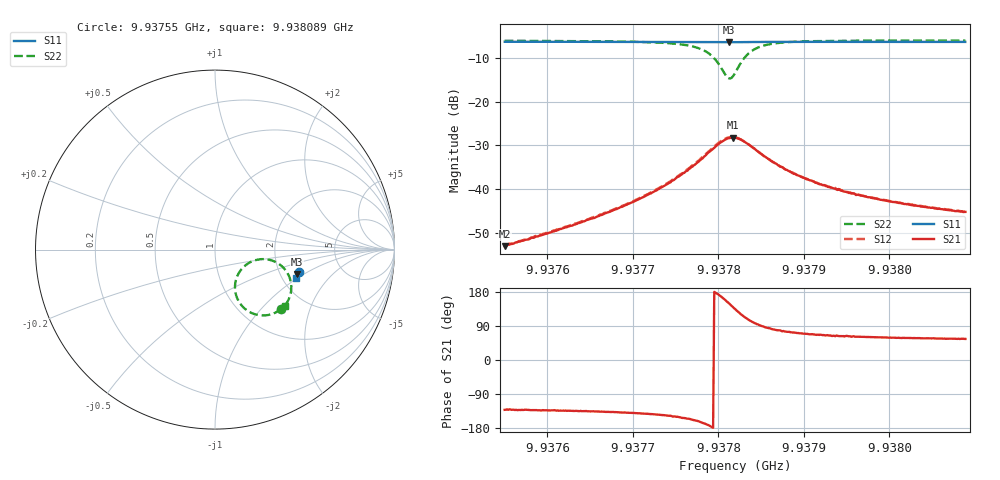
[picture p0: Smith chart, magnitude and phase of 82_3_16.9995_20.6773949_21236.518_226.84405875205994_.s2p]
#  HZ  S  RI  R  50.00
! Rohde & Schwarz Vector Network Analyzer
! Rohde-Schwarz,ZNB20-2Port,1311601062101988,3.16
! Created: UTC 3/20/2024, 10:55:47 PM
! freq[Hz]  re:S11  im:S11  re:S21  im:S21  re:S12  im:S12  re:S22  im:S22
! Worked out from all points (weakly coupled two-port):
!   401 points, 9.93755 GHz to 9.938089 GHz, reference 50 ohm
!   highest |S21| = -28.19 dB at 9.9378168 GHz (marker M1); lowest = -53.0 dB at 9.93755 GHz (marker M2)
!   lowest |S11| = -6.4 dB at 9.9378127 GHz (marker M3), VSWR 2.82, Z = 123 - j43.9 ohm
!   |S11| at or under -10 dB: nowhere
!   |S22| runs from -14.7 to -6.0 dB; largest |S21 - S12| = 0.0022
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9.93754997e9  0.4665 -0.1225  -0.00149 -0.00168  -0.00154 -0.00172  0.3693 -0.3303
9.93758096e9  0.4658 -0.1247  -0.00187 -0.00205  -0.00192 -0.00207  0.3645 -0.3342
9.93764025e9  0.4643 -0.1287  -0.00298 -0.00298  -0.0031 -0.00303  0.3512 -0.3431
9.9376928e9  0.4628 -0.1324  -0.00504 -0.00436  -0.00521 -0.00441  0.3303 -0.3542
9.93773053e9  0.4616 -0.135  -0.0082 -0.00589  -0.00855 -0.00587  0.3004 -0.3636
9.93776287e9  0.4603 -0.1375  -0.0146 -0.00702  -0.0151 -0.00705  0.2458 -0.3651
9.93778308e9  0.4588 -0.1388  -0.0229 -0.00528  -0.0236 -0.00478  0.1795 -0.3394
9.93779386e9  0.4576 -0.1392  -0.029 -0.000566  -0.0301 0.000107  0.1348 -0.2927
9.93780195e9  0.4568 -0.1388  -0.0332 0.00608  -0.0341 0.0077  0.1123 -0.2288
9.93780869e9  0.4563 -0.1385  -0.0342 0.0145  -0.0344 0.0164  0.1194 -0.1595
9.93781273e9  0.4562 -0.138  -0.0327 0.0198  -0.0327 0.0219  0.1405 -0.1184
9.93781677e9  0.4565 -0.1375  -0.03 0.0249  -0.0292 0.0268  0.1738 -0.0846
9.93781946e9  0.4566 -0.1373  -0.0273 0.0274  -0.0262 0.0293  0.2002 -0.0682
9.9378262e9  0.4573 -0.1371  -0.019 0.0317  -0.0177 0.0328  0.2705 -0.053
9.93783294e9  0.458 -0.1373  -0.0114 0.0317  -0.01 0.0322  0.3299 -0.0656
9.93784641e9  0.459 -0.1387  -0.0018 0.0269  -0.000745 0.027  0.3967 -0.1193
9.93785989e9  0.4594 -0.14  0.00238 0.0217  0.00307 0.0215  0.4195 -0.1678
9.9378801e9  0.4592 -0.142  0.00448 0.0161  0.00475 0.0159  0.4253 -0.2149
9.93790975e9  0.4586 -0.1443  0.00463 0.0115  0.00505 0.0114  0.4196 -0.2525
9.93795017e9  0.4575 -0.1473  0.0041 0.00832  0.00441 0.00823  0.4098 -0.2786
9.93800003e9  0.4562 -0.1509  0.00377 0.00622  0.00393 0.00626  0.4005 -0.2959
9.93808896e9  0.4539 -0.1566  0.00312 0.00456  0.00319 0.00453  0.3885 -0.3129
